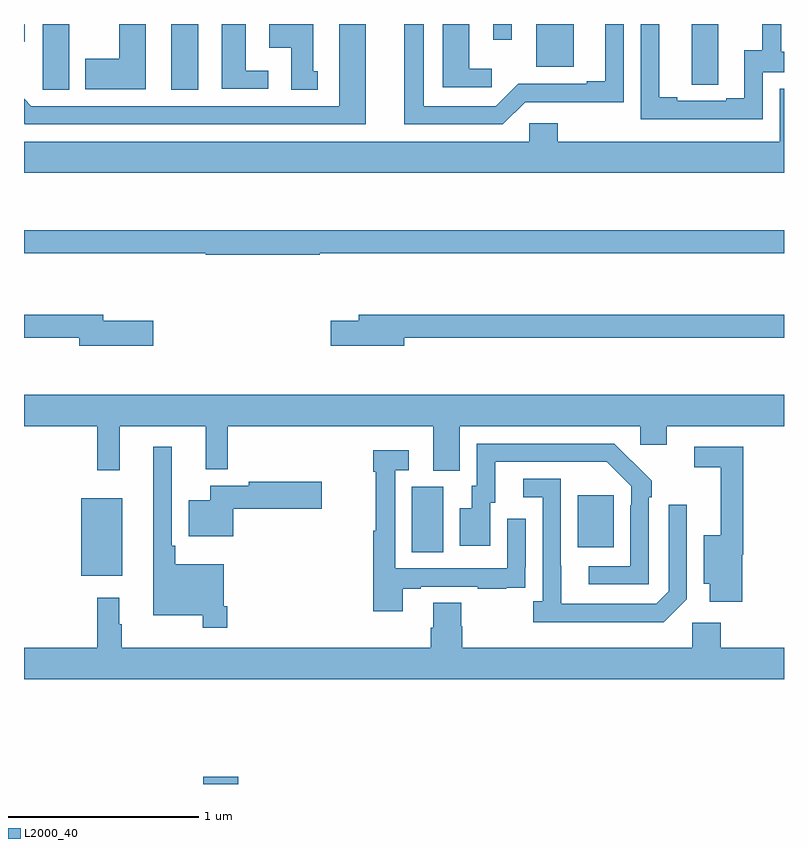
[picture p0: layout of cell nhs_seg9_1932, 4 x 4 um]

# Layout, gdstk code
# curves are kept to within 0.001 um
import gdstk
lib = gdstk.Library(unit=1e-6, precision=1e-09)
def R(c, l, rs):  # rectangles x0, y0, x1, y1
    for r in rs: c.add(gdstk.rectangle(r[:2], r[2:], *l))
def P(c, l, *ps):  # polygons
    for p in ps: c.add(gdstk.Polygon(p, *l))
L2000_40 = (2000, 40)

nhs_seg9_1932 = lib.new_cell('nhs_seg9_1932')
R(nhs_seg9_1932, L2000_40, [(219.944,1230.5,220.127,1230.538), (219.302,1231.595,219.517,1232.005), (221.042,1231.72,221.206,1232.064), (221.915,1231.745,222.103,1232.02), (219.776,1234.153,219.916,1234.5), (221.696,1234.274,221.893,1234.5), (219,1234.407,219.004,1234.5), (221.469,1234.416,221.566,1234.5)])
P(nhs_seg9_1932, L2000_40, [(221.637,1234.089),(222.156,1234.088),(222.156,1234.5),(222.059,1234.5),(222.059,1234.198),(221.963,1234.198),(221.963,1234.185),(221.601,1234.185),(221.484,1234.068),(221.104,1234.068),(221.104,1234.5),(221,1234.5),(221,1233.972),(221.52,1233.972)],
  [(219.64,1234.5),(219.5,1234.5),(219.5,1234.317),(219.323,1234.317),(219.323,1234.157),(219.64,1234.157)],
  [(220.546,1234.251),(220.522,1234.251),(220.522,1234.5),(220.292,1234.5),(220.292,1234.376),(220.406,1234.376),(220.406,1234.153),(220.546,1234.153)],
  [(222.888,1234.245),(223,1234.245),(223,1234.354),(222.986,1234.354),(222.986,1234.5),(222.886,1234.5),(222.886,1234.361),(222.791,1234.361),(222.791,1234.11),(222.695,1234.11),(222.695,1234.095),(222.439,1234.095),(222.439,1234.115),(222.343,1234.115),(222.343,1234.5),(222.246,1234.5),(222.246,1233.999),(222.888,1233.999)],
  [(220.798,1234.5),(220.658,1234.5),(220.658,1234.068),(219.039,1234.068),(219,1234.107),(219,1233.975),(219.003,1233.972),(220.798,1233.972)],
  [(220.285,1234.254),(220.168,1234.254),(220.168,1234.5),(220.04,1234.5),(220.04,1234.158),(220.285,1234.158)],
  [(222.654,1234.288),(222.655,1234.288),(222.655,1234.5),(222.515,1234.5),(222.515,1234.18),(222.654,1234.18)],
  [(219.238,1234.5),(219.098,1234.5),(219.098,1234.264),(219.099,1234.264),(219.099,1234.153),(219.238,1234.153)],
  [(221.461,1234.264),(221.344,1234.264),(221.344,1234.5),(221.204,1234.5),(221.204,1234.167),(221.461,1234.167)],
  [(223,1234.16),(222.977,1234.16),(222.977,1233.88),(221.81,1233.88),(221.81,1233.978),(221.658,1233.978),(221.658,1233.88),(219,1233.88),(219,1233.716),(223,1233.716)],
  [(220.556,1233.294),(223,1233.294),(223,1233.415),(219,1233.415),(219,1233.294),(219.956,1233.294),(219.956,1233.286),(220.556,1233.286)],
  [(221.002,1232.85),(223,1232.85),(223,1232.971),(220.763,1232.971),(220.763,1232.937),(220.614,1232.937),(220.614,1232.807),(221.002,1232.807)],
  [(219.679,1232.937),(219.418,1232.937),(219.418,1232.971),(219,1232.971),(219,1232.85),(219.29,1232.85),(219.29,1232.807),(219.679,1232.807)],
  [(221.293,1232.384),(222.243,1232.384),(222.243,1232.286),(222.382,1232.286),(222.382,1232.384),(223,1232.384),(223,1232.548),(219,1232.548),(219,1232.384),(219.385,1232.384),(219.385,1232.151),(219.503,1232.151),(219.503,1232.384),(219.956,1232.384),(219.956,1232.156),(220.073,1232.156),(220.073,1232.384),(221.153,1232.384),(221.153,1232.149),(221.293,1232.149)],
  [(222.288,1232.009),(222.303,1232.009),(222.303,1232.097),(222.106,1232.292),(221.382,1232.292),(221.382,1232.07),(221.357,1232.07),(221.357,1231.951),(221.294,1231.951),(221.294,1231.755),(221.455,1231.755),(221.455,1231.98),(221.479,1231.98),(221.479,1232.196),(222.067,1232.196),(222.195,1232.067),(222.195,1231.967),(222.192,1231.967),(222.192,1231.647),(221.973,1231.647),(221.973,1231.551),(222.288,1231.551)],
  [(220.07,1231.435),(220.05,1231.435),(220.05,1231.657),(219.797,1231.657),(219.797,1231.753),(219.777,1231.753),(219.777,1232.275),(219.68,1232.275),(219.68,1231.388),(219.942,1231.388),(219.942,1231.323),(220.07,1231.323)],
  [(222.779,1231.706),(222.785,1231.706),(222.785,1232.274),(222.528,1232.274),(222.528,1232.166),(222.668,1232.166),(222.668,1231.81),(222.578,1231.81),(222.578,1231.553),(222.608,1231.553),(222.608,1231.458),(222.779,1231.458)],
  [(220.993,1231.527),(221.089,1231.527),(221.089,1231.539),(221.389,1231.539),(221.389,1231.527),(221.537,1231.527),(221.537,1231.533),(221.639,1231.533),(221.639,1231.642),(221.64,1231.642),(221.64,1231.897),(221.544,1231.897),(221.544,1231.635),(220.953,1231.635),(220.953,1232.151),(221.026,1232.151),(221.026,1232.257),(220.837,1232.257),(220.837,1232.144),(220.852,1232.144),(220.852,1231.833),(220.837,1231.833),(220.837,1231.41),(220.993,1231.41)],
  [(222.489,1231.473),(222.489,1231.969),(222.393,1231.969),(222.393,1231.515),(222.327,1231.449),(221.827,1231.449),(221.826,1232.106),(221.628,1232.106),(221.628,1232.01),(221.73,1232.01),(221.73,1231.462),(221.679,1231.462),(221.679,1231.352),(222.368,1231.352)],
  [(220.102,1231.949),(220.567,1231.949),(220.567,1232.091),(220.182,1232.091),(220.182,1232.071),(219.98,1232.071),(219.98,1231.993),(219.866,1231.993),(219.866,1231.805),(220.102,1231.805)],
  [(223,1231.216),(222.668,1231.216),(222.668,1231.348),(222.516,1231.348),(222.516,1231.216),(221.306,1231.216),(221.306,1231.329),(221.301,1231.329),(221.301,1231.454),(221.153,1231.454),(221.153,1231.322),(221.141,1231.322),(221.141,1231.216),(219.514,1231.216),(219.514,1231.34),(219.502,1231.34),(219.502,1231.48),(219.385,1231.48),(219.385,1231.216),(219,1231.216),(219,1231.052),(223,1231.052)])

lib.write_gds('nhs_seg9_1932.gds')
